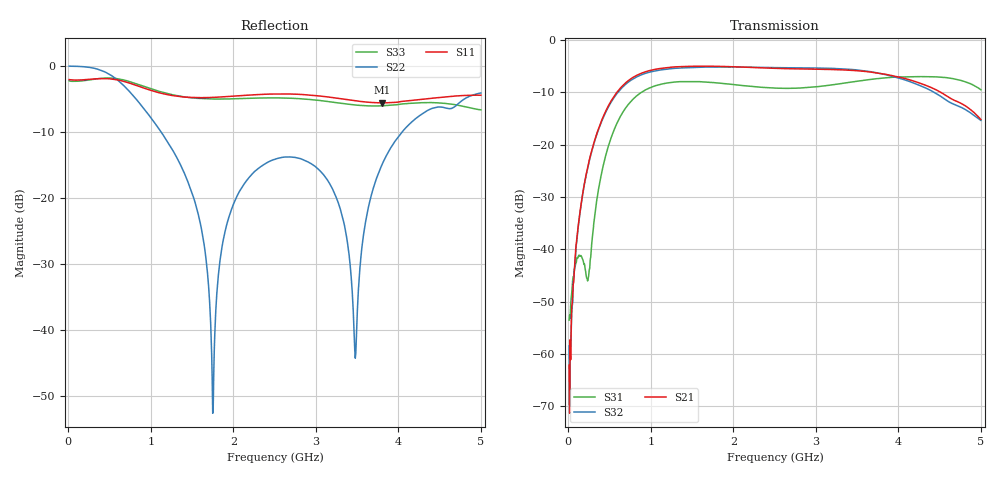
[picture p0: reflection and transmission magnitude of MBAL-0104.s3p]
!Keysight Technologies,N5225A,MY51451185,Z.10.48.20
!Date: Wednesday, March 01, 2017 10:07:51
!S3P File: Measurements: <S11,S12,S13>,
!<S21,S22,S23>,
!<S31,S32,S33>:
!Port Configuration: PORT 1:OUTPUT (0 DEGREE), PORT 2: COMMON, PORT 3: OUTPUT (180 DEGREE)
# Hz S  dB  R 50
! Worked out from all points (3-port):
!   801 points, 10 MHz to 5 GHz, reference 50 ohm
!   strongest paths, dB at 10 MHz, 1.258 GHz, 2.505 GHz, 3.752 GHz, 5 GHz:
!     S21: -62.1, -5.2, -5.4, -6.3, -15.2
!     S32: -58.4, -5.5, -5.3, -6.3, -15.4
!     S31: -53.5, -8.1, -9.2, -7.4, -9.5
!   lowest |S11| = -5.6 dB at 3.802 GHz (marker M1), VSWR 3.23, Z = 132 - j58.4 ohm
!   |S11| at or under -10 dB: nowhere
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1e7  -2.03 171.1  -60.95 23.6  -51.99 36.3
     -62.12 -47.6  0.01 -2.1  -51.07 29.0
     -53.51 64.0  -58.44 3.5  -2.22 170.6
1.8465e8  -2.07 123.4  -28.41 122.9  -42.59 51.3
          -28.40 122.9  -0.07 -38.4  -28.52 -40.2
          -42.45 52.3  -28.51 -40.5  -2.20 120.7
5.651375e8  -2.01 18.7  -10.49 29.6  -16.77 85.2
            -10.51 29.6  -1.79 -121.4  -10.75 -147.4
            -16.78 85.1  -10.75 -147.3  -1.84 13.1
1.507e9  -4.75 -137.5  -4.99 -166.7  -7.91 -110.9
         -5.01 -166.6  -19.53 83.9  -5.24 12.2
         -7.91 -110.9  -5.23 12.2  -4.82 -145.1
1.750262e9  -4.74 -165.6  -4.98 153.2  -8.10 -147.2
            -5.00 153.2  -52.69 114.1  -5.16 -28.4
            -8.11 -147.2  -5.15 -28.4  -4.98 -172.9
2.505e9  -4.22 110.6  -5.37 37.1  -9.17 116.6
         -5.40 37.1  -14.13 121.3  -5.27 -145.2
         -9.17 116.6  -5.26 -145.2  -4.80 104.0
3.216075e9  -4.78 35.4  -5.62 -69.4  -8.50 31.2
            -5.64 -69.3  -19.02 16.8  -5.43 107.7
            -8.51 31.2  -5.42 107.6  -5.48 28.0
3.47805e9  -5.24 10.6  -5.81 -110.1  -7.91 -4.4
           -5.83 -110.1  -44.33 -107.4  -5.68 66.6
           -7.91 -4.3  -5.68 66.6  -5.89 2.3
3.8024e9  -5.56 -17.6  -6.42 -161.7  -7.27 -52.3
          -6.43 -161.7  -14.93 110.9  -6.46 14.8
          -7.28 -52.4  -6.45 14.8  -6.01 -28.5
5e9  -4.41 -164.0  -15.15 26.9  -9.49 100.3
     -15.18 26.9  -4.06 -67.8  -15.38 -159.5
     -9.49 100.3  -15.35 -159.5  -6.62 132.6
